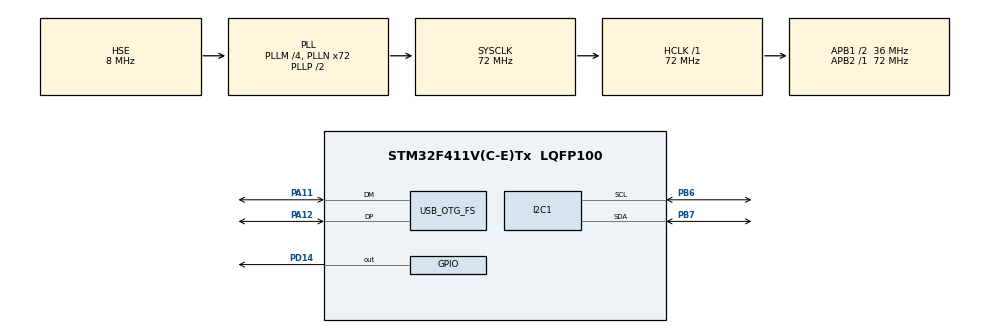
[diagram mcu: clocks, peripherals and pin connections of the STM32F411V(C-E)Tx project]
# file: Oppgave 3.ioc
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Mcu.Family=STM32F4
Mcu.Name=STM32F411V(C-E)Tx
Mcu.Package=LQFP100
NVIC.OTG_FS_IRQn=true\:0\:0\:false\:false\:true\:false\:true\:true
NVIC.PriorityGroup=NVIC_PRIORITYGROUP_0
PA11.Mode=Device_Only
PA11.Signal=USB_OTG_FS_DM
PA12.Mode=Device_Only
PA12.Signal=USB_OTG_FS_DP
PB6.Mode=I2C
PB6.Signal=I2C1_SCL
PB7.Mode=I2C
PB7.Signal=I2C1_SDA
PD14.Signal=GPIO_Output
PH0\ -\ OSC_IN.Mode=HSE-External-Oscillator
PH0\ -\ OSC_IN.Signal=RCC_OSC_IN
PH1\ -\ OSC_OUT.Mode=HSE-External-Oscillator
PH1\ -\ OSC_OUT.Signal=RCC_OSC_OUT
ProjectManager.HeapSize=0x200
ProjectManager.StackSize=0x400
ProjectManager.TargetToolchain=STM32CubeIDE
RCC.48MHZClocksFreq_Value=48000000
RCC.AHBFreq_Value=72000000
RCC.APB1CLKDivider=RCC_HCLK_DIV2
RCC.APB1Freq_Value=36000000
RCC.APB1TimFreq_Value=72000000
RCC.APB2Freq_Value=72000000
RCC.APB2TimFreq_Value=72000000
RCC.CortexFreq_Value=72000000
RCC.HCLKFreq_Value=72000000
RCC.HSE_VALUE=8000000
RCC.HSI_VALUE=16000000
RCC.LSE_VALUE=32768
RCC.PLLI2SM=5
RCC.PLLI2SN=200
RCC.PLLM=4
RCC.PLLN=72
RCC.PLLQ=3
RCC.SYSCLKFreq_VALUE=72000000
RCC.SYSCLKSource=RCC_SYSCLKSOURCE_PLLCLK
RCC.VCOOutputFreq_Value=144000000
USB_DEVICE.CLASS_NAME_FS=CDC
USB_DEVICE.VirtualMode=Cdc
USB_DEVICE.VirtualModeFS=Cdc_FS
USB_OTG_FS.VirtualMode=Device_Only
VP_USB_DEVICE_VS_USB_DEVICE_CDC_FS.Mode=CDC_FS
board=STM32F411E-DISCO

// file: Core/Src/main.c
/* USER CODE BEGIN Header */
/**
  ******************************************************************************
  * @file           : main.c
  * @brief          : Main program body
  ******************************************************************************
  * @attention
  *
  * Copyright (c) 2024 STMicroelectronics.
  * All rights reserved.
  *
  * This software is licensed under terms that can be found in the LICENSE file
  * in the root directory of this software component.
  * If no LICENSE file comes with this software, it is provided AS-IS.
  *
  ******************************************************************************
  */
/* USER CODE END Header */
#include "main.h"
#include "usb_device.h"

I2C_HandleTypeDef hi2c1;

/* USER CODE BEGIN PV */

//// TMP102 sensor address, shifted 1 bit to left because slave address is 7 bits (DevAddress)
//static const uint8_t TMP102_addr = 0x48 << 1;
//
//// Temperature register address, 'buffer[0]' is set to this value (*pData)
//static const uint8_t TMP102_TEMP_REG = 0x00;
//
//// Timeout delay
//uint32_t delay = HAL_MAX_DELAY;
//
//// LED port
//GPIO_TypeDef* LED_Port = GPIOD;
//
//// LED Pin
//uint16_t LED_Pin = GPIO_PIN_14;

/* USER CODE END PV */

void SystemClock_Config(void);
static void MX_GPIO_Init(void);
static void MX_I2C1_Init(void);

int main(void)
{

  /* USER CODE BEGIN 1 */

	// TMP102 sensor address, shifted 1 bit to left because slave address is 7 bits (DevAddress)
	static const uint8_t TMP102_addr = 0x48 << 1;

	// Temperature register address, 'buffer[0]' is set to this value (*pData)
	static const uint8_t TMP102_TEMP_REG = 0x00;

	// Timeout delay
	uint32_t delay = HAL_MAX_DELAY;

	// LED port
	GPIO_TypeDef* LED_Port = GPIOD;

	// LED Pin
	uint16_t LED_Pin = GPIO_PIN_14;

	// Array to store the parameter sent and data received, 2 bytes big (*pData)
	uint8_t buffer[2];

	// Variable to store status of communication
	HAL_StatusTypeDef status;

	// Variable to store raw 12-bit temperature
	int16_t temp_raw;

	// Variable to store converted temperature
	float temperature;

  /* USER CODE END 1 */

  /* MCU Configuration--------------------------------------------------------*/

  /* Reset of all peripherals, Initializes the Flash interface and the Systick. */
  HAL_Init();

  /* Configure the system clock */
  SystemClock_Config();

  /* Initialize all configured peripherals */
  MX_GPIO_Init();
  MX_I2C1_Init();
  MX_USB_DEVICE_Init();

  /* Infinite loop */
  /* USER CODE BEGIN WHILE */
  while (1)
  {

	  // Telling TMP102 that we want to read from the temperature register (*pData)
	  buffer[0] = TMP102_TEMP_REG;

	  // Transmit register pointer to the sensor
	  status = HAL_I2C_Master_Transmit(&hi2c1, TMP102_addr, buffer, 1, HAL_MAX_DELAY);

	  // Check status of transmission, if OK keep going, if not OK do nothing
	  if (status == HAL_OK){

		  // Receive 2 bytes of data from TMP102
		  status = HAL_I2C_Master_Receive(&hi2c1, TMP102_addr, buffer, 2, delay);

		  // Check status of receive, if OK keep going, if not OK do nothing
		  if (status == HAL_OK){

			  // Combine the MSB and LSB from the buffer, and isolate the first 12 bits to get the raw temperature value
			  	  /** Casting to int16_t ensures that any negative temperature, where the sign bit (the 12th bit) is set,
			  	   * will be properly treated as a negative number. Without the cast, the value would be treated as unsigned,
			  	   * and you'd have to manually adjust it for negative values (using 2's complement), shown underneath */
			  temp_raw = ((int16_t)buffer[0] << 4) | (buffer[1] >> 4);

			  /***** Example without casting *****/
			  // Combine the MSB and LSB from the buffer, and isolate the first 12 bits to get the raw temperature value
			  // temp_raw = (buffer[0] << 4) | (buffer[1] >> 4);

			  // Check if the temperature is negative (sign bit is set),
			  // if (temp_raw & 0x800) { // 0x800 is the sign bit for a 12-bit number
			  //     // Convert to 2's complement (for negative temperatures)
			  //     temp_raw = temp_raw - 4096;
			  // }

			  // Convert raw value to a temperature in Celsius
			  temperature = temp_raw * 0.0625f;

			  // Format the temperature as a string
			  char temp_str[50];
			  sprintf(temp_str, "Temperature: %.2f°C\r\n", temperature);

			  // Send the temperature data over USB
			  CDC_Transmit_FS((uint8_t*)temp_str, strlen(temp_str));

			  /** Check temperature
			   	   * - if it's over 30 degrees, turn on LED
			   	   * - if it's under 30 degrees, turn off LED */
			  if (temperature >= 27.0f){
				  // LED on
				  HAL_GPIO_WritePin(LED_Port, LED_Pin, GPIO_PIN_SET);
			  } else {
				  // LED off
				  HAL_GPIO_WritePin(LED_Port, LED_Pin, GPIO_PIN_RESET);
			  }

		  } else {

			  char status_str[50];
			  sprintf(status_str, "Receive error: %d\r\n", status);
			  CDC_Transmit_FS((uint8_t*)status_str, strlen(status_str));
		  }

	  } else {

		  char status_str[50];
		  sprintf(status_str, "Transmit error: %d\r\n", status);
		  CDC_Transmit_FS((uint8_t*)status_str, strlen(status_str));
	  }

	  // Delay
	  HAL_Delay(100);
    /* USER CODE END WHILE */

  }
}

void SystemClock_Config(void)
{
  RCC_OscInitTypeDef RCC_OscInitStruct = {0};
  RCC_ClkInitTypeDef RCC_ClkInitStruct = {0};

  /** Configure the main internal regulator output voltage
  */
  __HAL_RCC_PWR_CLK_ENABLE();
  __HAL_PWR_VOLTAGESCALING_CONFIG(PWR_REGULATOR_VOLTAGE_SCALE1);

  /** Initializes the RCC Oscillators according to the specified parameters
  * in the RCC_OscInitTypeDef structure.
  */
  RCC_OscInitStruct.OscillatorType = RCC_OSCILLATORTYPE_HSE;
  RCC_OscInitStruct.HSEState = RCC_HSE_ON;
  RCC_OscInitStruct.PLL.PLLState = RCC_PLL_ON;
  RCC_OscInitStruct.PLL.PLLSource = RCC_PLLSOURCE_HSE;
  RCC_OscInitStruct.PLL.PLLM = 4;
  RCC_OscInitStruct.PLL.PLLN = 72;
  RCC_OscInitStruct.PLL.PLLP = RCC_PLLP_DIV2;
  RCC_OscInitStruct.PLL.PLLQ = 3;
  if (HAL_RCC_OscConfig(&RCC_OscInitStruct) != HAL_OK)
  {
    Error_Handler();
  }

  /** Initializes the CPU, AHB and APB buses clocks
  */
  RCC_ClkInitStruct.ClockType = RCC_CLOCKTYPE_HCLK|RCC_CLOCKTYPE_SYSCLK
                              |RCC_CLOCKTYPE_PCLK1|RCC_CLOCKTYPE_PCLK2;
  RCC_ClkInitStruct.SYSCLKSource = RCC_SYSCLKSOURCE_PLLCLK;
  RCC_ClkInitStruct.AHBCLKDivider = RCC_SYSCLK_DIV1;
  RCC_ClkInitStruct.APB1CLKDivider = RCC_HCLK_DIV2;
  RCC_ClkInitStruct.APB2CLKDivider = RCC_HCLK_DIV1;

  if (HAL_RCC_ClockConfig(&RCC_ClkInitStruct, FLASH_LATENCY_2) != HAL_OK)
  {
    Error_Handler();
  }
}

static void MX_I2C1_Init(void)
{

  hi2c1.Instance = I2C1;
  hi2c1.Init.ClockSpeed = 100000;
  hi2c1.Init.DutyCycle = I2C_DUTYCYCLE_2;
  hi2c1.Init.OwnAddress1 = 0;
  hi2c1.Init.AddressingMode = I2C_ADDRESSINGMODE_7BIT;
  hi2c1.Init.DualAddressMode = I2C_DUALADDRESS_DISABLE;
  hi2c1.Init.OwnAddress2 = 0;
  hi2c1.Init.GeneralCallMode = I2C_GENERALCALL_DISABLE;
  hi2c1.Init.NoStretchMode = I2C_NOSTRETCH_DISABLE;
  if (HAL_I2C_Init(&hi2c1) != HAL_OK)
  {
    Error_Handler();
  }

}

static void MX_GPIO_Init(void)
{
  GPIO_InitTypeDef GPIO_InitStruct = {0};

  /* GPIO Ports Clock Enable */
  __HAL_RCC_GPIOH_CLK_ENABLE();
  __HAL_RCC_GPIOD_CLK_ENABLE();
  __HAL_RCC_GPIOA_CLK_ENABLE();
  __HAL_RCC_GPIOB_CLK_ENABLE();

  /*Configure GPIO pin Output Level */
  HAL_GPIO_WritePin(GPIOD, GPIO_PIN_14, GPIO_PIN_RESET);

  /*Configure GPIO pin : PD14 */
  GPIO_InitStruct.Pin = GPIO_PIN_14;
  GPIO_InitStruct.Mode = GPIO_MODE_OUTPUT_PP;
  GPIO_InitStruct.Pull = GPIO_NOPULL;
  GPIO_InitStruct.Speed = GPIO_SPEED_FREQ_LOW;
  HAL_GPIO_Init(GPIOD, &GPIO_InitStruct);

}

void Error_Handler(void)
{
  __disable_irq();
  while (1)
  {
  }
}
